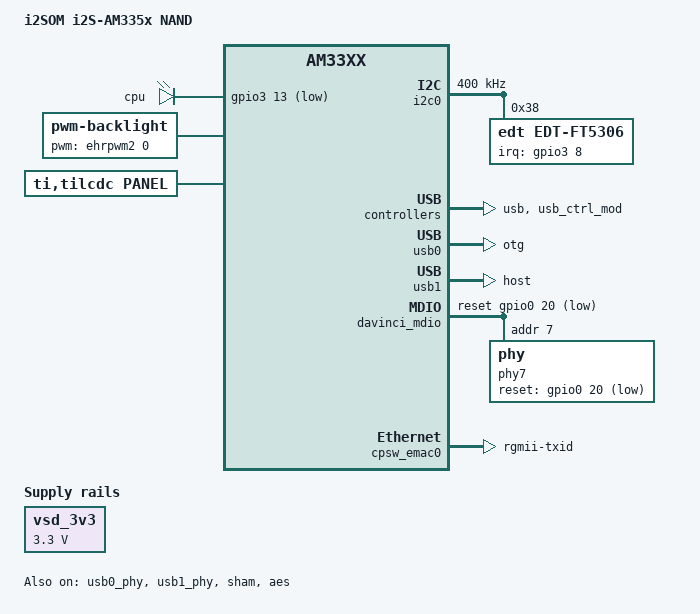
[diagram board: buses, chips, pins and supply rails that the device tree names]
/*
 * Copyright (C) 2012 Texas Instruments Incorporated - http://www.ti.com/
 *
 * This program is free software; you can redistribute it and/or modify
 * it under the terms of the GNU General Public License version 2 as
 * published by the Free Software Foundation.
 */
/ {
	model = "i2SOM i2S-AM335x NAND";
	compatible = "ti,i2s_am335x", "ti,am33xx";

	vsd_3v3: fixedregulator@10{
		compatible = "regulator-fixed";
		regulator-name = "vsd_3v3";
		regulator-min-microvolt = <3300000>;
		regulator-max-microvolt = <3300000>;
		regulator-boot-on;
		regulator-always-on;
	};
	
	gpio-leds {
		compatible = "gpio-leds";
		pinctrl-names = "default";
		pinctrl-0 = <&leds_pins>;

		cpu {
			label = "cpu";
			gpios = <&gpio3 13 GPIO_ACTIVE_LOW>;
			linux,default-trigger = "heartbeat";
			default-state = "on";
		};
	};
	
	backlight {
		compatible = "pwm-backlight";
		pwms = <&ehrpwm2 0 2000 1>;
		brightness-levels = <10 120 140 160 180 200 220 255>;
		default-brightness-level = <7>;
	};

	panel {
		compatible = "ti,tilcdc,panel";
		pinctrl-names = "default", "sleep";
		pinctrl-0 = <&lcd_pins_default>;
		pinctrl-1 = <&lcd_pins_sleep>;
		status = "okay";

		panel-info {
			ac-bias           = <255>;
			ac-bias-intrpt    = <0>;
			dma-burst-sz      = <16>;
			bpp               = <16>;
			fdd               = <0x80>;
			sync-edge         = <0>;
			sync-ctrl         = <1>;
			raster-order      = <0>;
			fifo-th           = <0>;
		};

		display-timings {
			native-mode = <&timing1>;
			timing0:480x272 {
				clock-frequency = <9000000>;
				hactive = <480>;
				vactive = <272>;
				hfront-porch = <9>;
				hback-porch = <43>;
				hsync-len = <4>;
				vback-porch = <12>;
				vfront-porch = <4>;
				vsync-len = <10>;
				hsync-active = <0>;
				vsync-active = <0>;
			};

			timing1: 800x480 {
				clock-frequency = <30000000>;
				hactive = <800>;
				vactive = <480>;
				hfront-porch = <39>;
				hback-porch = <39>;
				hsync-len = <47>;
				vback-porch = <29>;
				vfront-porch = <13>;
				vsync-len = <2>;
				hsync-active = <1>;
				vsync-active = <1>;
			};
		};
	};
};

&am33xx_pinmux {
	pinctrl-names = "default";
	pinctrl-0 = <&leds_pins>;

	leds_pins: pinmux_leds_pins {
		pinctrl-single,pins = <
			0x234 (PIN_OUTPUT_PULLDOWN | MUX_MODE7)	/* usb1_drvvbus.gpio3_13 */
		>;
	};
	
	i2c0_pins: pinmux_i2c0_pins {
		pinctrl-single,pins = <
			0x188 (PIN_INPUT_PULLUP | MUX_MODE0)	/* i2c0_sda.i2c0_sda */
			0x18c (PIN_INPUT_PULLUP | MUX_MODE0)	/* i2c0_scl.i2c0_scl */
		>;
	};

	i2c1_pins_default: pinmux_i2c1_pins {
		pinctrl-single,pins = <
			0x158 (PIN_INPUT_PULLUP | MUX_MODE2)	/* spi0_d1.i2c1_sda */
			0x15c (PIN_INPUT_PULLUP | MUX_MODE2)	/* spi0_cs0.i2c1_scl */
		>;
	};

	i2c1_pins_sleep: i2c1_pins_sleep {
		pinctrl-single,pins = <
			0x158 (PIN_INPUT_PULLDOWN | MUX_MODE7)	/* spi0_d1.i2c1_sda */
			0x15c (PIN_INPUT_PULLDOWN | MUX_MODE7)	/* spi0_cs0.i2c1_scl */
		>;
	};

	uart0_pins: pinmux_uart0_pins {
		pinctrl-single,pins = <
			0x170 (PIN_INPUT_PULLUP | MUX_MODE0)	/* uart0_rxd.uart0_rxd */
			0x174 (PIN_OUTPUT_PULLDOWN | MUX_MODE0)	/* uart0_txd.uart0_txd */
		>;
	};

	uart1_pins_default: pinmux_uart1_pins_default {
		pinctrl-single,pins = <
			0x180 (PIN_INPUT_PULLUP | MUX_MODE0)    /* uart1_rxd.uart1_rxd */
			0x184 (PIN_OUTPUT_PULLDOWN | MUX_MODE0)         /* uart1_txd.uart1_txd */
                >;
        };

	uart1_pins_sleep: pinmux_uart1_pins_sleep {
		pinctrl-single,pins = <
			0x180 (PIN_INPUT_PULLDOWN | MUX_MODE7)
			0x184 (PIN_INPUT_PULLDOWN | MUX_MODE7)
                >;
        };


	uart2_pins_default: pinmux_uart2_pins_default {
		pinctrl-single,pins = <
			0x10c ( PIN_INPUT | MUX_MODE6 ) /* (H17) gmii1_crs.uart2_rxd */
			0x110 ( PIN_OUTPUT | MUX_MODE6 ) /* (J15) gmii1_rxer.uart2_txd */
		>;
	};

	uart2_pins_sleep: pinmux_uart2_pins_sleep {
		pinctrl-single,pins = <
			0x10C (PIN_INPUT_PULLDOWN | MUX_MODE7)
			0x110 (PIN_INPUT_PULLDOWN | MUX_MODE7)
		>;
	};

	ehrpwm2_pins_default: backlight_pins {
		pinctrl-single,pins = <
			0x20 (MUX_MODE4)	/* gpmc_ad8.ehrpwm2A */
		>;
	};

	ehrpwm2_pins_sleep: ehrpwm0_pins_sleep {
		pinctrl-single,pins = <
			0x20  (PIN_INPUT_PULLDOWN | MUX_MODE4)	/* gpmc_ad8.ehrpwm2A */
		>;
	};

	cpsw_default: cpsw_default {
		pinctrl-single,pins = <
			/* Slave 1 */
			0x114 (PIN_OUTPUT_PULLDOWN | MUX_MODE2)	/* mii1_txen.rgmii1_tctl */
			0x118 (PIN_INPUT_PULLDOWN | MUX_MODE2)	/* mii1_rxdv.rgmii1_rctl */
			0x11c (PIN_OUTPUT_PULLDOWN | MUX_MODE2)	/* mii1_txd3.rgmii1_td3 */
			0x120 (PIN_OUTPUT_PULLDOWN | MUX_MODE2)	/* mii1_txd2.rgmii1_td2 */
			0x124 (PIN_OUTPUT_PULLDOWN | MUX_MODE2)	/* mii1_txd1.rgmii1_td1 */
			0x128 (PIN_OUTPUT_PULLDOWN | MUX_MODE2)	/* mii1_txd0.rgmii1_td0 */
			0x12c (PIN_OUTPUT_PULLDOWN | MUX_MODE2)	/* mii1_txclk.rgmii1_tclk */
			0x130 (PIN_INPUT_PULLDOWN | MUX_MODE2)	/* mii1_rxclk.rgmii1_rclk */
			0x134 (PIN_INPUT_PULLDOWN | MUX_MODE2)	/* mii1_rxd3.rgmii1_rd3 */
			0x138 (PIN_INPUT_PULLDOWN | MUX_MODE2)	/* mii1_rxd2.rgmii1_rd2 */
			0x13c (PIN_INPUT_PULLDOWN | MUX_MODE2)	/* mii1_rxd1.rgmii1_rd1 */
			0x140 (PIN_INPUT_PULLDOWN | MUX_MODE2)	/* mii1_rxd0.rgmii1_rd0 */
			0x1b4 (PIN_OUTPUT_PULLUP | MUX_MODE7)	/* XDMA_EVENT_INTR1.gpio0_20 */
		>;
	};

	cpsw_sleep: cpsw_sleep {
		pinctrl-single,pins = <
			/* Slave 1 reset value */
			0x114 (PIN_INPUT_PULLDOWN | MUX_MODE7)
			0x118 (PIN_INPUT_PULLDOWN | MUX_MODE7)
			0x11c (PIN_INPUT_PULLDOWN | MUX_MODE7)
			0x120 (PIN_INPUT_PULLDOWN | MUX_MODE7)
			0x124 (PIN_INPUT_PULLDOWN | MUX_MODE7)
			0x128 (PIN_INPUT_PULLDOWN | MUX_MODE7)
			0x12c (PIN_INPUT_PULLDOWN | MUX_MODE7)
			0x130 (PIN_INPUT_PULLDOWN | MUX_MODE7)
			0x134 (PIN_INPUT_PULLDOWN | MUX_MODE7)
			0x138 (PIN_INPUT_PULLDOWN | MUX_MODE7)
			0x13c (PIN_INPUT_PULLDOWN | MUX_MODE7)
			0x140 (PIN_INPUT_PULLDOWN | MUX_MODE7)
			0x1b4 (PIN_OUTPUT_PULLUP | MUX_MODE7)	/* XDMA_EVENT_INTR1.gpio0_20 */
		>;
	};

	davinci_mdio_default: davinci_mdio_default {
		pinctrl-single,pins = <
			/* MDIO */
			0x148 (PIN_INPUT_PULLUP | SLEWCTRL_FAST | MUX_MODE0)	/* mdio_data.mdio_data */
			0x14c (PIN_OUTPUT_PULLUP | MUX_MODE0)			/* mdio_clk.mdio_clk */
		>;
	};

	davinci_mdio_sleep: davinci_mdio_sleep {
		pinctrl-single,pins = <
			/* MDIO reset value */
			0x148 (PIN_INPUT_PULLDOWN | MUX_MODE7)
			0x14c (PIN_INPUT_PULLDOWN | MUX_MODE7)
		>;
	};

	mmc1_pins_default: pinmux_mmc1_pins {
		pinctrl-single,pins = <
			0x0F0 (PIN_INPUT_PULLUP | MUX_MODE0)    /* mmc0_dat3.mmc0_dat3 */
			0x0F4 (PIN_INPUT_PULLUP | MUX_MODE0)    /* mmc0_dat2.mmc0_dat2 */
			0x0F8 (PIN_INPUT_PULLUP | MUX_MODE0)    /* mmc0_dat1.mmc0_dat1 */
			0x0FC (PIN_INPUT_PULLUP | MUX_MODE0)    /* mmc0_dat0.mmc0_dat0 */
			0x100 (PIN_INPUT_PULLUP | MUX_MODE0)    /* mmc0_clk.mmc0_clk */
			0x104 (PIN_INPUT_PULLUP | MUX_MODE0)    /* mmc0_cmd.mmc0_cmd */
			0x1A4 (PIN_INPUT_PULLUP | MUX_MODE7)    /* mcasp0_fsr.gpio3_19 */
			
		>;
	};

	mmc1_pins_sleep: pinmux_mmc1_pins_sleep {
		pinctrl-single,pins = <
			0x0F0 (PIN_INPUT_PULLDOWN | MUX_MODE7)
			0x0F4 (PIN_INPUT_PULLDOWN | MUX_MODE7)
			0x0F8 (PIN_INPUT_PULLDOWN | MUX_MODE7)
			0x0FC (PIN_INPUT_PULLDOWN | MUX_MODE7)
			0x100 (PIN_INPUT_PULLDOWN | MUX_MODE7)
			0x104 (PIN_INPUT_PULLDOWN | MUX_MODE7)
			0x1A4 (PIN_INPUT_PULLDOWN | MUX_MODE7)
		>;
	};

	/* wl12xx/wl18xx card on mmc3 */
	mmc3_pins: pinmux_mmc3_pins {
		pinctrl-single,pins = <
			0x30 (PIN_INPUT_PULLUP | MUX_MODE3)	/* gpmc_a12.mmc2_dat0, INPUT_PULLUP | MODE3 */
			0x34 (PIN_INPUT_PULLUP | MUX_MODE3)	/* gpmc_a13.mmc2_dat1, INPUT_PULLUP | MODE3 */
			0x38 (PIN_INPUT_PULLUP | MUX_MODE3)	/* gpmc_a14.mmc2_dat2, INPUT_PULLUP | MODE3 */
			0x3c (PIN_INPUT_PULLUP | MUX_MODE3)	/* gpmc_a15.mmc2_dat3, INPUT_PULLUP | MODE3 */
			0x88 (PIN_INPUT_PULLUP | MUX_MODE3)	/* gpmc_csn3.mmc2_cmd, INPUT_PULLUP | MODE3 */
			0x8C (PIN_INPUT_PULLUP | MUX_MODE3)	/* gpmc_clk.mmc2_clk, INPUT_PULLUP | MODE3 */
		>;
	};

	/* wl12xx/wl18xx card enable/irq GPIOs. */
	wlan_pins: pinmux_wlan_pins {
		pinctrl-single,pins = <
			0x20 (PIN_OUTPUT_PULLDOWN | MUX_MODE7)	/* WLAN_EN gpmc_ad7.gpio0_22 */
			0x24 (PIN_INPUT | MUX_MODE7)		/* BT_EN gpmc_ad9.gpio0_23 */
		>;
	};

	lcd_pins_default: lcd_pins_default {
		pinctrl-single,pins = <
			0xa0 (PIN_OUTPUT | MUX_MODE0)		/* LCD_DATA0.lcd_data0 */
			0xa4 (PIN_OUTPUT | MUX_MODE0)		/* LCD_DATA1.lcd_data1 */
			0xa8 (PIN_OUTPUT | MUX_MODE0)		/* lcd_data2.lcd_data2 */
			0xac (PIN_OUTPUT | MUX_MODE0)		/* lcd_data3.lcd_data3 */
			0xb0 (PIN_OUTPUT | MUX_MODE0)		/* lcd_data4.lcd_data4 */
			0xb4 (PIN_OUTPUT | MUX_MODE0)		/* lcd_data5.lcd_data5 */
			0xb8 (PIN_OUTPUT | MUX_MODE0)		/* lcd_data6.lcd_data6 */
			0xbc (PIN_OUTPUT | MUX_MODE0)		/* lcd_data7.lcd_data7 */
			0xc0 (PIN_OUTPUT | MUX_MODE0)		/* lcd_data8.lcd_data8 */
			0xc4 (PIN_OUTPUT | MUX_MODE0)		/* lcd_data9.lcd_data9 */
			0xc8 (PIN_OUTPUT | MUX_MODE0)		/* lcd_data10.lcd_data10 */
			0xcc (PIN_OUTPUT | MUX_MODE0)		/* lcd_data11.lcd_data11 */
			0xd0 (PIN_OUTPUT | MUX_MODE0)		/* lcd_data12.lcd_data12 */
			0xd4 (PIN_OUTPUT | MUX_MODE0)		/* lcd_data13.lcd_data13 */
			0xd8 (PIN_OUTPUT | MUX_MODE0)		/* lcd_data14.lcd_data14 */
			0xdc (PIN_OUTPUT | MUX_MODE0)		/* lcd_data15.lcd_data15 */
			0xe0 (PIN_OUTPUT | MUX_MODE0)		/* lcd_vsync.lcd_vsync */
			0xe4 (PIN_OUTPUT | MUX_MODE0)		/* lcd_hsync.lcd_hsync */
			0xe8 (PIN_OUTPUT | MUX_MODE0)		/* lcd_pclk.lcd_pclk */
			0xec (PIN_OUTPUT | MUX_MODE0)		/* lcd_ac_bias_en.lcd_ac_bias_en */
		>;
	};

	lcd_pins_sleep: lcd_pins_sleep {
		pinctrl-single,pins = <
			0xa0 (PULL_DISABLE | MUX_MODE7)		/* lcd_data0.lcd_data0 */
			0xa4 (PULL_DISABLE | MUX_MODE7)		/* lcd_data1.lcd_data1 */
			0xa8 (PULL_DISABLE | MUX_MODE7)		/* lcd_data2.lcd_data2 */
			0xac (PULL_DISABLE | MUX_MODE7)		/* lcd_data3.lcd_data3 */
			0xb0 (PULL_DISABLE | MUX_MODE7)		/* lcd_data4.lcd_data4 */
			0xb4 (PULL_DISABLE | MUX_MODE7)		/* lcd_data5.lcd_data5 */
			0xb8 (PULL_DISABLE | MUX_MODE7)		/* lcd_data6.lcd_data6 */
			0xbc (PULL_DISABLE | MUX_MODE7)		/* lcd_data7.lcd_data7 */
			0xc0 (PULL_DISABLE | MUX_MODE7)		/* lcd_data8.lcd_data8 */
			0xc4 (PULL_DISABLE | MUX_MODE7)		/* lcd_data9.lcd_data9 */
			0xc8 (PULL_DISABLE | MUX_MODE7)		/* lcd_data10.lcd_data10 */
			0xcc (PULL_DISABLE | MUX_MODE7)		/* lcd_data11.lcd_data11 */
			0xd0 (PULL_DISABLE | MUX_MODE7)		/* lcd_data12.lcd_data12 */
			0xd4 (PULL_DISABLE | MUX_MODE7)		/* lcd_data13.lcd_data13 */
			0xd8 (PULL_DISABLE | MUX_MODE7)		/* lcd_data14.lcd_data14 */
			0xdc (PULL_DISABLE | MUX_MODE7)		/* lcd_data15.lcd_data15 */
			0xe0 (PIN_INPUT_PULLDOWN | MUX_MODE7)	/* lcd_vsync.lcd_vsync, OUTPUT | MODE0 */
			0xe4 (PIN_INPUT_PULLDOWN | MUX_MODE7)	/* lcd_hsync.lcd_hsync */
			0xe8 (PIN_INPUT_PULLDOWN | MUX_MODE7)	/* lcd_pclk.lcd_pclk */
			0xec (PIN_INPUT_PULLDOWN | MUX_MODE7)	/* lcd_ac_bias_en.lcd_ac_bias_en */
		>;
	};

	am335x_evm_audio_pins: am335x_evm_audio_pins {
		pinctrl-single,pins = <
			0x190 (PIN_INPUT_PULLDOWN | MUX_MODE0) /* A13 "mcasp0_aclkx.mcasp0_aclkx" */
			0x194 (PIN_INPUT_PULLDOWN | MUX_MODE0) /* B13 "mcasp0_fsx.mcasp0_fsx" */
			0x19c (PIN_INPUT_PULLDOWN | MUX_MODE2) /* C12  "mcasp0_ahclkr.mcasp0_axr2" */
			0x1a8 (PIN_INPUT_PULLDOWN | MUX_MODE0) /* D13 "mcasp0_axr1.mcasp0_axr1" */
		>;
	};

	am335x_evm_audio_pins_sleep: am335x_evm_audio_pins_sleep {
		pinctrl-single,pins = <
			0x190 (PIN_INPUT_PULLDOWN | MUX_MODE7) /* A13 "mcasp0_aclkx.mcasp0_aclkx" */
			0x194 (PIN_INPUT_PULLDOWN | MUX_MODE7) /* B13 "mcasp0_fsx.mcasp0_fsx" */
			0x19c (PIN_INPUT_PULLDOWN | MUX_MODE7) /* C12  "mcasp0_ahclkr.mcasp0_axr2" */
			0x1a8 (PIN_INPUT_PULLDOWN | MUX_MODE7) /* D13 "mcasp0_axr1.mcasp0_axr1" */
		>;
	};

	dcan0_pins_default: dcan0_pins_default {
		pinctrl-single,pins = <
			0x178 (PIN_OUTPUT_PULLUP | MUX_MODE2) /* uart1_ctsn.d_can0_tx */
			0x17c (PIN_INPUT_PULLUP | MUX_MODE2) /* uart1_rtsn.d_can0_rx */
		>;
	};

	dcan1_pins_default: dcan1_pins_default {
		pinctrl-single,pins = <
			0x168 (PIN_OUTPUT_PULLUP | MUX_MODE2) /* uart0_ctsn.d_can1_tx */
			0x16c (PIN_INPUT_PULLUP | MUX_MODE2) /* uart0_rtsn.d_can1_rx */
		>;
	};

	edt_ft5306_ts_pins: edt_ft5306_ts_pins {
		pinctrl-single,pins = <
			0x1E8 (PIN_INPUT_PULLUP | MUX_MODE7)    /* EMU1.gpio3_8  TP_INT*/
		>;
	};
};

&uart0 {
	pinctrl-names = "default";
	pinctrl-0 = <&uart0_pins>;
};


&uart1 {
	pinctrl-names = "default", "sleep";
	pinctrl-0 = <&uart1_pins_default>;
	pinctrl-1 = <&uart1_pins_sleep>;
};

&uart2 {
	pinctrl-names = "default", "sleep";
	pinctrl-0 = <&uart2_pins_default>;
	pinctrl-1 = <&uart2_pins_sleep>;
};

&i2c0 {
	pinctrl-names = "default";
	pinctrl-0 = <&i2c0_pins>;
	clock-frequency = <400000>;

	edt-ft5306@38 {
		compatible = "edt,edt-ft5306", "edt.edt-ft5x06";
		pinctrl-names = "default";
		pinctrl-0 = <&edt_ft5306_ts_pins>;
		status = "okay";

		reg = <0x38>;
		interrupt-parent = <&gpio3>;
		interrupts = <8 0>;

		touchscreen-size-x = <800>;
		touchscreen-size-y = <480>;
	};
};

&usb {
	status = "okay";
};

&usb_ctrl_mod {
	status = "okay";
};

&usb0 {
	dr_mode = "otg";
};

&usb0_phy {
	status = "okay";
};

&usb1 {
	dr_mode = "host";
};

&usb1_phy {
	status = "okay";
};

&cppi41dma  {
	status = "okay";
};

&i2c1 {
	pinctrl-names = "default", "sleep";
	pinctrl-0 = <&i2c1_pins_default>;
	pinctrl-1 = <&i2c1_pins_sleep>;
	clock-frequency = <100000>;
	status = "disabled";
};

&lcdc {
};

&epwmss2 {
	status = "disabled";

	ehrpwm2: ehrpwm@48304200 {
		pinctrl-names = "default", "sleep";
		pinctrl-0 = <&ehrpwm0_pins_default>;
		pinctrl-1 = <&ehrpwm0_pins_sleep>;
		status = "disabled";
	};
};

&mcasp0 {
	pinctrl-names = "default", "sleep";
	pinctrl-0 = <&am335x_evm_audio_pins>;
	pinctrl-1 = <&am335x_evm_audio_pins_sleep>;

	status = "disabled";

	op-mode = <0>;          /* MCASP_IIS_MODE */
	tdm-slots = <2>;
	/* 4 serializers */
	serial-dir = <  /* 0: INACTIVE, 1: TX, 2: RX */
		0 1 2 0
		0 0 0 0
		0 0 0 0
		0 0 0 0
	>;
	tx-num-evt = <1>;
	rx-num-evt = <1>;
};

&mac {
	pinctrl-names = "default", "sleep";
	pinctrl-0 = <&cpsw_default>;
	pinctrl-1 = <&cpsw_sleep>;
	//dual_emac = <1>;
	slaves = <1>;
	//active_slave = <1>;
	status = "disabled";
};

&davinci_mdio {
	pinctrl-names = "default", "sleep";
	pinctrl-0 = <&davinci_mdio_default>;
	pinctrl-1 = <&davinci_mdio_sleep>;
	status = "okay";
	reset-gpios = <&gpio0 20 GPIO_ACTIVE_LOW>;

	phy7: phy@7 {
		reg = <7>;
		reset = <&gpio0 20 GPIO_ACTIVE_LOW>;
	};
};

&cpsw_emac0 {
	phy_id = <&davinci_mdio>, <7>;
	phy-mode = "rgmii-txid";
	dual_emac_res_vlan=<0>;
};
/*
&cpsw_emac1 {
	phy_id = <&davinci_mdio>, <6>;
	phy-mode = "rgmii-txid";
	dual_emac_res_vlan=<1>;
};
*/
&tscadc {
	status = "disabled";

	tsc {
		ti,wires = <4>;
		ti,x-plate-resistance = <200>;
		ti,coordinate-readouts = <5>;
		ti,wire-config = <0x10 0x01 0x32 0x23>;
		ti,charge-delay = <0x800>;
	};

	adc {
		ti,adc-channels = <0 1 2 3>;
	};
};

&mmc1 {
	pinctrl-names = "default", "sleep";
	pinctrl-0 = <&mmc1_pins_default>;
	pinctrl-1 = <&mmc1_pins_sleep>;
	vmmc-supply = <&vsd_3v3>;
	bus-width = <4>;
	cd-gpios = <&gpio3 19 GPIO_ACTIVE_HIGH>;
	status = "disavled";
};

&mmc3 {
	status = "disabled";
};

&sham {
	status = "okay";
};

&aes {
	status = "okay";
};

&dcan0 {
	status = "disabled";
};

&dcan1 {
	status = "disabled";
};

&rtc {
	system-power-controller;
};
